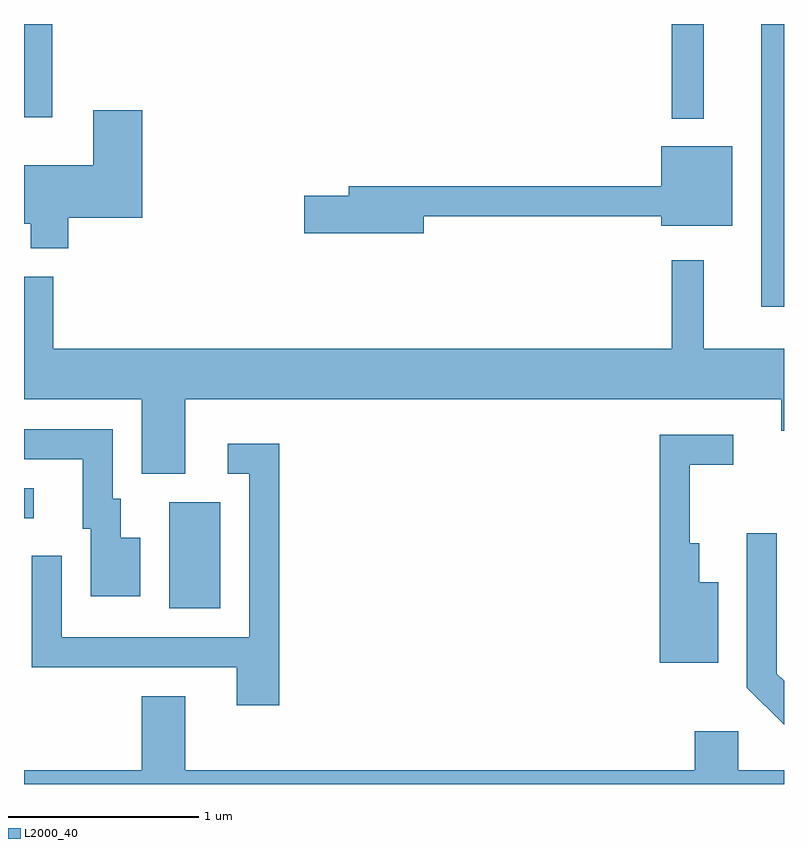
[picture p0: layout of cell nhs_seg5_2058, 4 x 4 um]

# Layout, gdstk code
import gdstk
lib = gdstk.Library(unit=1e-6, precision=1e-09)
def R(c, l, rs):  # rectangles x0, y0, x1, y1
    for r in rs: c.add(gdstk.rectangle(r[:2], r[2:], *l))
def P(c, l, *ps):  # polygons
    for p in ps: c.add(gdstk.Polygon(p, *l))
L2000_40 = (2000, 40)

nhs_seg5_2058 = lib.new_cell('nhs_seg5_2058')
R(nhs_seg5_2058, L2000_40, [(246.376,1488.996,246.644,1489.554), (245.611,1489.471,245.663,1489.629), (249.491,1490.583,249.611,1492.072), (249.021,1491.573,249.189,1492.072), (245.611,1491.581,245.759,1492.072)])
P(nhs_seg5_2058, L2000_40, [(245.844,1491.051),(246.234,1491.051),(246.234,1491.619),(245.976,1491.619),(245.976,1491.329),(245.611,1491.329),(245.611,1491.021),(245.646,1491.021),(245.646,1490.891),(245.844,1490.891)],
  [(247.714,1491.061),(248.966,1491.061),(248.966,1491.011),(249.339,1491.011),(249.339,1491.429),(248.966,1491.429),(248.966,1491.219),(247.321,1491.219),(247.321,1491.169),(247.086,1491.169),(247.086,1490.971),(247.714,1490.971)],
  [(246.459,1490.096),(249.596,1490.096),(249.596,1489.931),(249.611,1489.931),(249.611,1490.364),(249.189,1490.364),(249.189,1490.828),(249.021,1490.828),(249.021,1490.364),(245.764,1490.364),(245.764,1490.743),(245.611,1490.743),(245.611,1490.096),(246.231,1490.096),(246.231,1489.706),(246.459,1489.706)],
  [(246.224,1489.369),(246.119,1489.369),(246.119,1489.574),(246.079,1489.574),(246.079,1489.939),(245.611,1489.939),(245.611,1489.781),(245.921,1489.781),(245.921,1489.416),(245.961,1489.416),(245.961,1489.061),(246.224,1489.061)],
  [(249.264,1489.134),(249.164,1489.134),(249.164,1489.339),(249.114,1489.339),(249.114,1489.751),(249.343,1489.751),(249.343,1489.909),(248.956,1489.909),(248.956,1488.711),(249.264,1488.711)],
  [(246.954,1489.864),(246.683,1489.864),(246.683,1489.706),(246.796,1489.706),(246.796,1488.844),(245.809,1488.844),(245.809,1489.273),(245.651,1489.273),(245.651,1488.686),(246.731,1488.686),(246.731,1488.486),(246.954,1488.486)],
  [(249.611,1488.615),(249.574,1488.652),(249.574,1489.393),(249.416,1489.393),(249.416,1488.579),(249.611,1488.384)],
  [(249.611,1488.144),(249.369,1488.144),(249.369,1488.349),(249.141,1488.349),(249.141,1488.144),(246.459,1488.144),(246.459,1488.534),(246.231,1488.534),(246.231,1488.144),(245.611,1488.144),(245.611,1488.072),(249.611,1488.072)])

lib.write_gds('nhs_seg5_2058.gds')
